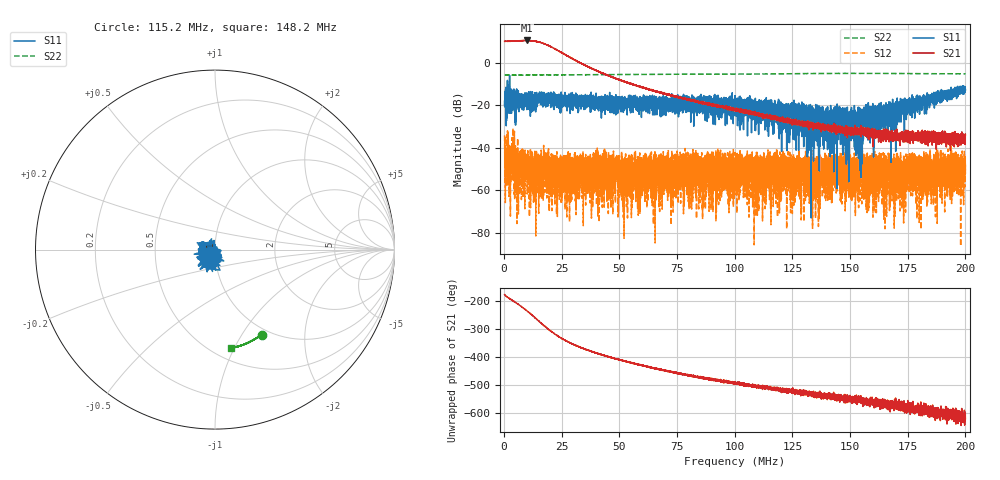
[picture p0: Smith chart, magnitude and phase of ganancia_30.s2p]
# Hz S DB R 50
! CMT, M5065, 19127446, 24.2.4/2
! Date: 11/8/2024 4:02:31 PM
! Data: Format (Calibration Info)
! Freq	S11:dB/Ang(F2)	S21:dB/Ang(F2)	S12:dB/Ang(F2)	S22:dB/Ang(F2)
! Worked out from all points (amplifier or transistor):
!   9000 points, 300 kHz to 200 MHz, reference 50 ohm
!   highest |S21| = 10.4 dB at 10.06 MHz (marker M1)
!   |S21| within 3 dB of that: start of sweep to 20.44 MHz
!   unconditionally stable (mu >= 1): start of sweep to end of sweep
!   at 33.59 MHz: K = 72.85, MAG = 1.1 dB, |S12| = -45.8 dB
!   at 100.2 MHz: K = 2350.00, MAG = -20.6 dB, |S12| = -54.3 dB
!   at 200 MHz: K = 3848.12, MAG = -32.3 dB, |S12| = -47.2 dB
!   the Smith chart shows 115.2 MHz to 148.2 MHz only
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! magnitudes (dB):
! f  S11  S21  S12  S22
! 300 kHz  -19.8  10.0  -34.3  -5.9
! 1.831 MHz  -12.5  10.0  -44.2  -5.9
! 10.06 MHz  -15.1  10.4  -52.8  -5.8
! 18.16 MHz  -16.7  8.6  -42.5  -5.8
! 31.61 MHz  -17.1  0.7  -47.2  -5.7
! 33.59 MHz  -16.3  -0.4  -45.8  -5.7
! 66.87 MHz  -17.9  -14.0  -48.0  -5.5
! 100.2 MHz  -22.4  -22.1  -54.3  -5.4
! 105.4 MHz  -18.4  -23.8  -55.7  -5.4
! 110.3 MHz  -21.8  -24.1  -46.0  -5.4
! 112.7 MHz  -21.9  -24.6  -46.5  -5.4
! 117.3 MHz  -25.9  -25.8  -56.1  -5.3
! 123.1 MHz  -25.6  -27.5  -44.6  -5.3
! 125.8 MHz  -23.0  -28.0  -45.9  -5.2
! 133.4 MHz  -26.2  -29.2  -46.7  -5.2
! 154.6 MHz  -25.3  -32.1  -57.6  -5.1
! 156.7 MHz  -20.9  -33.7  -44.6  -5.1
! 166.7 MHz  -24.4  -33.4  -48.4  -5.1
! 186.1 MHz  -16.9  -37.2  -67.0  -5.3
! 194.4 MHz  -13.6  -38.8  -48.7  -5.3
! 197.1 MHz  -12.5  -34.5  -54.1  -5.3
! 200 MHz  -12.8  -34.0  -47.2  -5.3
